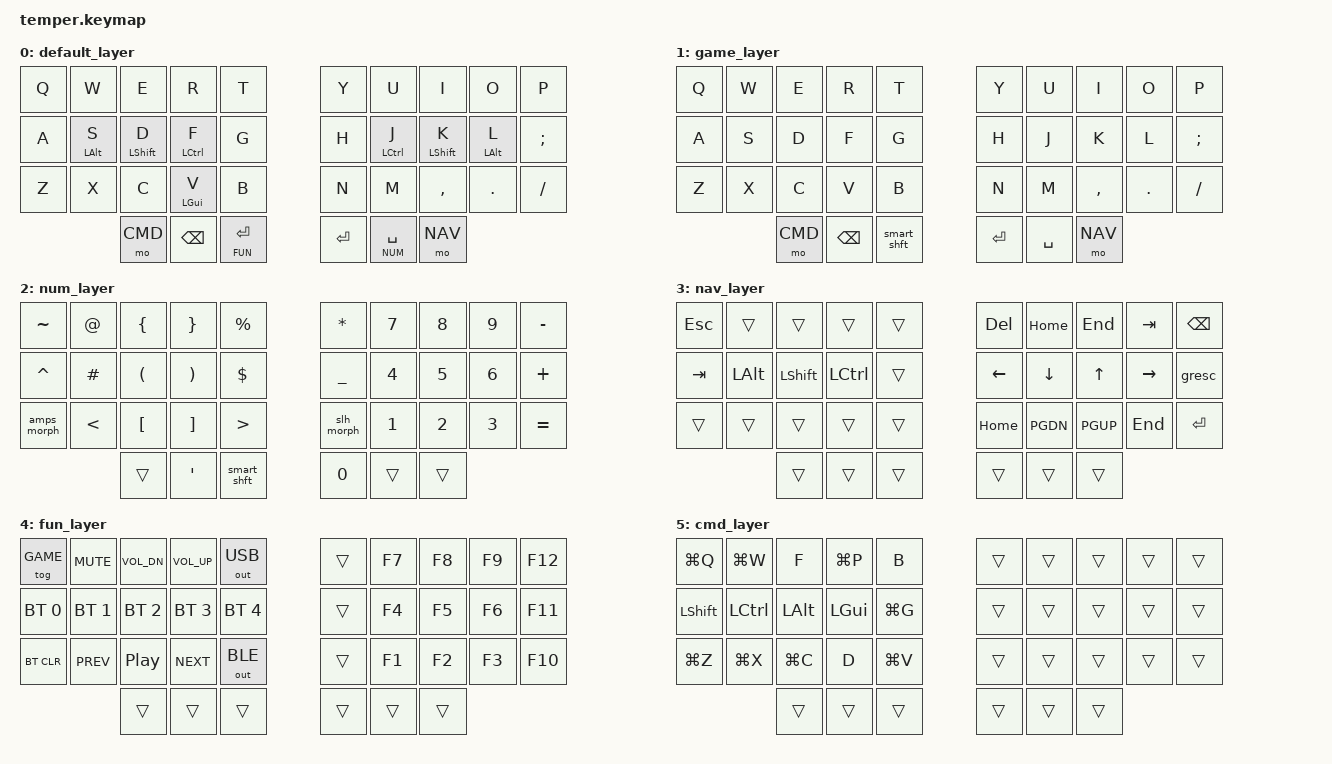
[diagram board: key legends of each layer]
/*
 * Copyright (c) 2020 The ZMK Contributors
 *
 * SPDX-License-Identifier: MIT
 */

#include <behaviors.dtsi>
#include <dt-bindings/zmk/keys.h>
#include <dt-bindings/zmk/bt.h>
#include <dt-bindings/zmk/outputs.h>

#define DEFAULT 0
#define GAME 1
#define NUM 2
#define NAV 3
#define FUN 4
#define CMD 5

# define ______ &trans

/ {
    conditional_layers {
        compatible = "zmk,conditional-layers";
        tri_layer {
            if-layers = <NUM NAV>;
            then-layer = <FUN>;
        };
    };
    behaviors {
        bspc_del: backspace_delete {
            compatible = "zmk,behavior-mod-morph";
            #binding-cells = <0>;
            bindings = <&kp BACKSPACE>, <&kp DELETE>;
            mods = <(MOD_LSFT|MOD_RSFT)>;
            keep-mods = <(MOD_RSFT)>;
        };
        super_bspc: super_backspace {
            compatible = "zmk,behavior-mod-morph";
            #binding-cells = <0>;
            bindings = <&kp BACKSPACE>, <&kp LA(BACKSPACE)>;
            mods = <(MOD_LSFT|MOD_RSFT)>;
        };
        smart_shft: smart_shift {
            compatible = "zmk,behavior-mod-morph";
            #binding-cells = <0>;
            bindings = <&kp LSHFT>, <&caps_word>;
            mods = <(MOD_LSFT)>;
        };
        comma_semi: comma_semi {
            compatible = "zmk,behavior-mod-morph";
            #binding-cells = <0>;
            bindings = <&kp COMMA>, <&kp SEMI>;
            mods = <(MOD_LSFT)>;
        };
        dot_colon: dot_colon {
            compatible = "zmk,behavior-mod-morph";
            #binding-cells = <0>;
            bindings = <&kp DOT>, <&kp COLON>;
            mods = <(MOD_LSFT)>;
        };
        qmrk_excl: qmrk_excl {
            compatible = "zmk,behavior-mod-morph";
            #binding-cells = <0>;
            bindings = <&kp QMARK>, <&kp EXCL>;
            mods = <(MOD_LSFT)>;
        };
//        hml: home_row_mod_left {
//            compatible = "zmk,behavior-hold-tap";
//            #binding-cells = <2>;
//            flavor = "balanced";
//            require-prior-idle-ms = <150>;
//            tapping-term-ms = <280>;
//            quick-tap-ms = <175>;
//            bindings = <&kp>, <&kp>;
//            hold-trigger-key-positions = <&kp S>, <&kp D>, <&kp F>; // List of keys on the right side of the keyboard
//            hold-trigger-on-release;
//        };
//        hmr: home_row_mod_right {
//            compatible = "zmk,behavior-hold-tap";
//            #binding-cells = <2>;
//            flavor = "balanced";
//            require-prior-idle-ms = <150>;
//            tapping-term-ms = <280>;
//            quick-tap-ms = <175>;
//            bindings = <&kp>, <&kp>;
//            hold-trigger-key-positions = <&kp J>, <&kp K>, <&kp L>; // List of keys on the left side of the keyboard
//            hold-trigger-on-release;
//        };
        slh_morph: slh_morph {
            compatible = "zmk,behavior-mod-morph";
            #binding-cells = <0>;
            bindings = <&kp FSLH>, <&kp BSLH>;
            mods = <(MOD_LSFT)>;
        };
        amps_morph: amps_morph {
            compatible = "zmk,behavior-mod-morph";
            #binding-cells = <0>;
            bindings = <&kp AMPS>, <&kp PIPE>;
            mods = <(MOD_LSFT)>;
        };
        gresc: grave_escape {
            compatible = "zmk,behavior-mod-morph";
            #binding-cells = <0>;
            bindings = <&kp ESC>, <&kp GRAVE>;
            mods = <(MOD_LGUI|MOD_LSFT|MOD_RGUI|MOD_RSFT)>;
        };
    };
        keymap {
                compatible = "zmk,keymap";

                default_layer {
                        bindings = <
// ╭─────────────┬─────────────┬─────────────┬─────────────┬─────────────╮   ╭─────────────┬─────────────┬─────────────┬─────────────┬─────────────╮
        &kp Q         &kp W         &kp E         &kp R         &kp T             &kp Y         &kp U         &kp I         &kp O         &kp P
// ├─────────────┼─────────────┼─────────────┼─────────────┼─────────────┤   ├─────────────┼─────────────┼─────────────┼─────────────┼─────────────┤
        &kp A       &mt LALT S   &mt LSHFT D   &mt LCTRL F      &kp G             &kp H     &mt LCTRL J    &mt LSHFT K   &mt LALT L     &kp SEMI
// ├─────────────┼─────────────┼─────────────┼─────────────┼─────────────┤   ├─────────────┼─────────────┼─────────────┼─────────────┼─────────────┤
        &kp Z         &kp X         &kp C      &mt LGUI V       &kp B             &kp N         &kp M      &kp COMMA       &kp DOT      &kp FSLH
// ╰─────────────┴─────────────┼─────────────┼─────────────┼─────────────┤   ├─────────────┼─────────────┼─────────────┼─────────────┴─────────────╯
                                   &mo CMD       &kp BSPC    &lt FUN RET         &kp RET    &lt NUM SPACE   &mo NAV
//                             ╰─────────────┴─────────────┴─────────────╯   ╰─────────────┴─────────────┴─────────────╯
                        >;
                };
                game_layer {
                        bindings = <
// ╭─────────────┬─────────────┬─────────────┬─────────────┬─────────────╮   ╭─────────────┬─────────────┬─────────────┬─────────────┬─────────────╮
        &kp Q         &kp W         &kp E         &kp R         &kp T             &kp Y         &kp U         &kp I         &kp O         &kp P
// ├─────────────┼─────────────┼─────────────┼─────────────┼─────────────┤   ├─────────────┼─────────────┼─────────────┼─────────────┼─────────────┤
        &kp A         &kp S         &kp D         &kp F         &kp G             &kp H         &kp J         &kp K         &kp L        &kp SEMI
// ├─────────────┼─────────────┼─────────────┼─────────────┼─────────────┤   ├─────────────┼─────────────┼─────────────┼─────────────┼─────────────┤
        &kp Z         &kp X         &kp C         &kp V         &kp B             &kp N         &kp M       &kp COMMA       &kp DOT       &kp FSLH
// ╰─────────────┴─────────────┼─────────────┼─────────────┼─────────────┤   ├─────────────┼─────────────┼─────────────┼─────────────┴─────────────╯
                                   &mo CMD       &kp BSPC    &smart_shft        &kp RET       &kp SPACE    &mo NAV
//                             ╰─────────────┴─────────────┴─────────────╯   ╰─────────────┴─────────────┴─────────────╯
                        >;
                };
                num_layer {
                        bindings = <
// ╭─────────────┬─────────────┬─────────────┬─────────────┬─────────────╮   ╭─────────────┬─────────────┬─────────────┬─────────────┬─────────────╮
      &kp TILDE       &kp AT       &kp LBRC      &kp RBRC     &kp PRCNT          &kp STAR       &kp N7        &kp N8        &kp N9      &kp MINUS
// ├─────────────┼─────────────┼─────────────┼─────────────┼─────────────┤   ├─────────────┼─────────────┼─────────────┼─────────────┼─────────────┤
      &kp CARET      &kp HASH      &kp LPAR      &kp RPAR      &kp DLLR         &kp UNDER       &kp N4        &kp N5        &kp N6      &kp PLUS
// ├─────────────┼─────────────┼─────────────┼─────────────┼─────────────┤   ├─────────────┼─────────────┼─────────────┼─────────────┼─────────────┤
      &amps_morph     &kp LT       &kp LBKT      &kp RBKT       &kp GT          &slh_morph      &kp N1        &kp N2        &kp N3      &kp EQUAL
// ╰─────────────┴─────────────┼─────────────┼─────────────┼─────────────┤   ├─────────────┼─────────────┼─────────────┼─────────────┴─────────────╯
                                    ______      &kp APOS     &smart_shft         &kp N0        ______        ______
//                             ╰─────────────┴─────────────┴─────────────╯   ╰─────────────┴─────────────┴─────────────╯
                        >;
                };

                nav_layer {
                        bindings = <
// ╭─────────────┬─────────────┬─────────────┬─────────────┬─────────────╮   ╭─────────────┬─────────────┬─────────────┬─────────────┬─────────────╮
      &kp ESC         ______        ______        ______        ______           &kp DEL       &kp HOME      &kp END       &kp TAB       &kp BSPC
// ├─────────────┼─────────────┼─────────────┼─────────────┼─────────────┤   ├─────────────┼─────────────┼─────────────┼─────────────┼─────────────┤
      &kp TAB       &kp LALT      &kp LSHFT    &kp LCTRL        ______           &kp LEFT      &kp DOWN       &kp UP      &kp RIGHT       &gresc
// ├─────────────┼─────────────┼─────────────┼─────────────┼─────────────┤   ├─────────────┼─────────────┼─────────────┼─────────────┼─────────────┤
        ______        ______        ______        ______        ______            &kp HOME    &kp PGDN      &kp PGUP     &kp END        &kp RET
// ╰─────────────┴─────────────┼─────────────┼─────────────┼─────────────┤   ├─────────────┼─────────────┼─────────────┼─────────────┴─────────────╯
                                    ______        ______        ______            ______        ______        ______
//                             ╰─────────────┴─────────────┴─────────────╯   ╰─────────────┴─────────────┴─────────────╯
                        >;
                };

                fun_layer {
                        bindings = <
// ╭─────────────┬─────────────┬─────────────┬─────────────┬─────────────╮   ╭─────────────┬─────────────┬─────────────┬─────────────┬─────────────╮
      &tog GAME    &kp K_MUTE    &kp C_VOL_DN  &kp C_VOL_UP  &out OUT_USB         ______        &kp F7        &kp F8        &kp F9       &kp F12
// ├─────────────┼─────────────┼─────────────┼─────────────┼─────────────┤   ├─────────────┼─────────────┼─────────────┼─────────────┼─────────────┤
     &bt BT_SEL 0  &bt BT_SEL 1  &bt BT_SEL 2  &bt BT_SEL 3  &bt BT_SEL 4         ______        &kp F4        &kp F5        &kp F6       &kp F11
// ├─────────────┼─────────────┼─────────────┼─────────────┼─────────────┤   ├─────────────┼─────────────┼─────────────┼─────────────┼─────────────┤
      &bt BT_CLR    &kp C_PREV     &kp C_PP     &kp C_NEXT   &out OUT_BLE         ______        &kp F1        &kp F2        &kp F3       &kp F10
// ╰─────────────┴─────────────┼─────────────┼─────────────┼─────────────┤   ├─────────────┼─────────────┼─────────────┼─────────────┴─────────────╯
                                    ______        ______        ______            ______        ______        ______
//                             ╰─────────────┴─────────────┴─────────────╯   ╰─────────────┴─────────────┴─────────────╯
                        >;
                };

                cmd_layer {
                        bindings = <
// ╭─────────────┬─────────────┬─────────────┬─────────────┬─────────────╮   ╭─────────────┬─────────────┬─────────────┬─────────────┬─────────────╮
       &kp LG(Q)    &kp LG(W)       &kp F       &kp LG(P)       &kp B             ______        ______        ______        ______        ______
// ├─────────────┼─────────────┼─────────────┼─────────────┼─────────────┤   ├─────────────┼─────────────┼─────────────┼─────────────┼─────────────┤
       &kp LSHFT    &kp LCTRL     &kp LALT      &kp LGUI      &kp LG(G)           ______        ______        ______        ______        ______
// ├─────────────┼─────────────┼─────────────┼─────────────┼─────────────┤   ├─────────────┼─────────────┼─────────────┼─────────────┼─────────────┤
       &kp LG(Z)    &kp LG(X)     &kp LG(C)       &kp D       &kp LG(V)           ______        ______        ______        ______        ______
// ╰─────────────┴─────────────┼─────────────┼─────────────┼─────────────┤   ├─────────────┼─────────────┼─────────────┼─────────────┴─────────────╯
                                    ______        ______        ______            ______        ______        ______
//                             ╰─────────────┴─────────────┴─────────────╯   ╰─────────────┴─────────────┴─────────────╯
                        >;
                };
        };
};
